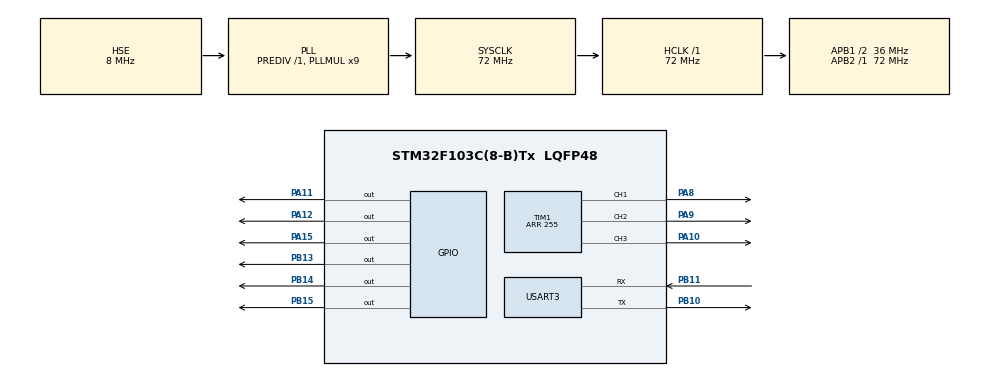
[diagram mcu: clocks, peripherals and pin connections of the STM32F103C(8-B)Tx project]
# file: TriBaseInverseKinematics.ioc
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Mcu.Family=STM32F1
Mcu.Name=STM32F103C(8-B)Tx
Mcu.Package=LQFP48
NVIC.PriorityGroup=NVIC_PRIORITYGROUP_4
PA10.Signal=S_TIM1_CH3
PA11.Signal=GPIO_Output
PA12.Signal=GPIO_Output
PA13.Mode=Serial_Wire
PA13.Signal=SYS_JTMS-SWDIO
PA14.Mode=Serial_Wire
PA14.Signal=SYS_JTCK-SWCLK
PA15.Signal=GPIO_Output
PA8.Signal=S_TIM1_CH1
PA9.Signal=S_TIM1_CH2
PB10.Mode=Asynchronous
PB10.Signal=USART3_TX
PB11.Mode=Asynchronous
PB11.Signal=USART3_RX
PB13.Signal=GPIO_Output
PB14.Signal=GPIO_Output
PB15.Signal=GPIO_Output
PC14-OSC32_IN.Mode=LSE-External-Clock-Source
PC14-OSC32_IN.Signal=RCC_OSC32_IN
PC15-OSC32_OUT.Mode=LSE-External-Clock-Source
PC15-OSC32_OUT.Signal=RCC_OSC32_OUT
PD0-OSC_IN.Mode=HSE-External-Oscillator
PD0-OSC_IN.Signal=RCC_OSC_IN
PD1-OSC_OUT.Mode=HSE-External-Oscillator
PD1-OSC_OUT.Signal=RCC_OSC_OUT
ProjectManager.HeapSize=0x200
ProjectManager.StackSize=0x400
ProjectManager.TargetToolchain=STM32CubeIDE
RCC.AHBFreq_Value=72000000
RCC.APB1CLKDivider=RCC_HCLK_DIV2
RCC.APB1Freq_Value=36000000
RCC.APB1TimFreq_Value=72000000
RCC.APB2Freq_Value=72000000
RCC.APB2TimFreq_Value=72000000
RCC.HCLKFreq_Value=72000000
RCC.PLLMUL=RCC_PLL_MUL9
RCC.PLLSourceVirtual=RCC_PLLSOURCE_HSE
RCC.SYSCLKFreq_VALUE=72000000
RCC.SYSCLKSource=RCC_SYSCLKSOURCE_PLLCLK
RCC.USBFreq_Value=72000000
SH.S_TIM1_CH1.0=TIM1_CH1,PWM Generation1 CH1
SH.S_TIM1_CH2.0=TIM1_CH2,PWM Generation2 CH2
SH.S_TIM1_CH3.0=TIM1_CH3,PWM Generation3 CH3
TIM1.AutoReloadPreload=TIM_AUTORELOAD_PRELOAD_ENABLE
TIM1.Channel-PWM\ Generation1\ CH1=TIM_CHANNEL_1
TIM1.Channel-PWM\ Generation2\ CH2=TIM_CHANNEL_2
TIM1.Channel-PWM\ Generation3\ CH3=TIM_CHANNEL_3
TIM1.Period=255
USART3.VirtualMode=VM_ASYNC
VP_TIM1_VS_ClockSourceINT.Mode=Internal
board=custom

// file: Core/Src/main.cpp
/* USER CODE BEGIN Header */
/**
  ******************************************************************************
  * @file           : main.c
  * @brief          : Main program body
  ******************************************************************************
  * @attention
  *
  * Copyright (c) 2024 STMicroelectronics.
  * All rights reserved.
  *
  * This software is licensed under terms that can be found in the LICENSE file
  * in the root directory of this software component.
  * If no LICENSE file comes with this software, it is provided AS-IS.
  *
  ******************************************************************************
  */
/* USER CODE END Header */
#include "main.h"

/* USER CODE BEGIN Includes */
#include "Motor.h"
#include "TriBase.h"
/* USER CODE END Includes */

TIM_HandleTypeDef htim1;

UART_HandleTypeDef huart3;

void SystemClock_Config(void);
static void MX_GPIO_Init(void);
static void MX_TIM1_Init(void);
static void MX_USART3_UART_Init(void);

/* USER CODE BEGIN 0 */
uint8_t received_data[10];
uint8_t ordered_data[8];
bool data0[8];
bool data1[8];
uint8_t sending_data[10];
bool in_sync = true;
uint8_t checksum;

uint8_t START_BYTE = 1;
uint8_t STOP_BYTE = 4;

void byte_to_bools(unsigned char c, bool b[8])
{
    for (int i=0; i < 8; ++i) {
        b[i] = (c & (1<<i)) != 0;
    }
}

MOTOR Motor1(GPIOB, GPIO_PIN_14, GPIOA, GPIO_PIN_11);
MOTOR Motor2(GPIOB, GPIO_PIN_15, GPIOA, GPIO_PIN_15);
MOTOR Motor3(GPIOB, GPIO_PIN_13, GPIOA, GPIO_PIN_12);
TriBaseKinematics Base(Motor1, Motor2, Motor3);
/* USER CODE END 0 */

int main(void)
{

  /* MCU Configuration--------------------------------------------------------*/

  /* Reset of all peripherals, Initializes the Flash interface and the Systick. */
  HAL_Init();

  /* Configure the system clock */
  SystemClock_Config();

  /* Initialize all configured peripherals */
  MX_GPIO_Init();
  MX_TIM1_Init();
  MX_USART3_UART_Init();
  /* USER CODE BEGIN 2 */
  Motor1.motor_init(&htim1, TIM_CHANNEL_1);
  Motor2.motor_init(&htim1, TIM_CHANNEL_2);
  Motor3.motor_init(&htim1, TIM_CHANNEL_3);

  Base.set_base_speeds(50, 50, 50);
  /* USER CODE END 2 */

  /* Infinite loop */
  while (1)
  {

    /* USER CODE BEGIN 3 */
	  HAL_UART_Receive(&huart3, received_data, 10, HAL_MAX_DELAY);
  	  for (uint8_t i = 0; i<10; i++){
  		  if (received_data[i] == 1 && received_data[(i+7)%8] == 4){
  			  for (uint8_t j = 0; j<8; j++){
  				  ordered_data[j] = received_data[(i+j)%8];
  			  }
  		  }
  	  }

	  if (!in_sync){
		  // communication error protection
	  }

	  if (ordered_data[0] == 2){
		  Base.go_at_angle(0, 0, 100, 0);
	  } else if (ordered_data[1] == 2){
		  Base.go_at_angle(0, 100, 0, 0);
	  } else if (ordered_data[2] == 2){
		  Base.go_at_angle(0, 0, -100, 0);
	  } else if (ordered_data[3] == 2){
		  Base.go_at_angle(0, -100, 0, 0);
	  } else if (ordered_data[4] == 2){
		  Base.go_at_angle(0, 0, 0, 100);
	  } else if (ordered_data[5] == 2){
		  Base.go_at_angle(0, 0, 0, -100);
	  } else {
		  Base.brake();
	  }

//	  if (data0[4]) { // up
//		  Base.set_base_speeds(Base.motor1_base_speed + 1, Base.motor2_base_speed, Base.motor3_base_speed);
//	  } else if (data0[6]) { //down
//		  Base.set_base_speeds(Base.motor1_base_speed - 1, Base.motor2_base_speed, Base.motor3_base_speed);
//	  }
//	  if (data1[0]) { // r1
//		  Base.set_base_speeds(Base.motor1_base_speed, Base.motor2_base_speed + 1, Base.motor3_base_speed);
//	  } else if (data1[1]) { // l1
//		  Base.set_base_speeds(Base.motor1_base_speed, Base.motor2_base_speed - 1, Base.motor3_base_speed);
//	  }
//	  if (data1[2]) { // start
//		  Base.set_base_speeds(Base.motor1_base_speed, Base.motor2_base_speed, Base.motor3_base_speed + 1);
//	  } else if (data1[3]) { // select
//		  Base.set_base_speeds(Base.motor1_base_speed, Base.motor2_base_speed, Base.motor3_base_speed - 1);
//	  }
  }
  /* USER CODE END 3 */
}

void SystemClock_Config(void)
{
  RCC_OscInitTypeDef RCC_OscInitStruct = {0};
  RCC_ClkInitTypeDef RCC_ClkInitStruct = {0};

  /** Initializes the RCC Oscillators according to the specified parameters
  * in the RCC_OscInitTypeDef structure.
  */
  RCC_OscInitStruct.OscillatorType = RCC_OSCILLATORTYPE_HSE;
  RCC_OscInitStruct.HSEState = RCC_HSE_ON;
  RCC_OscInitStruct.HSEPredivValue = RCC_HSE_PREDIV_DIV1;
  RCC_OscInitStruct.HSIState = RCC_HSI_ON;
  RCC_OscInitStruct.PLL.PLLState = RCC_PLL_ON;
  RCC_OscInitStruct.PLL.PLLSource = RCC_PLLSOURCE_HSE;
  RCC_OscInitStruct.PLL.PLLMUL = RCC_PLL_MUL9;
  if (HAL_RCC_OscConfig(&RCC_OscInitStruct) != HAL_OK)
  {
    Error_Handler();
  }

  /** Initializes the CPU, AHB and APB buses clocks
  */
  RCC_ClkInitStruct.ClockType = RCC_CLOCKTYPE_HCLK|RCC_CLOCKTYPE_SYSCLK
                              |RCC_CLOCKTYPE_PCLK1|RCC_CLOCKTYPE_PCLK2;
  RCC_ClkInitStruct.SYSCLKSource = RCC_SYSCLKSOURCE_PLLCLK;
  RCC_ClkInitStruct.AHBCLKDivider = RCC_SYSCLK_DIV1;
  RCC_ClkInitStruct.APB1CLKDivider = RCC_HCLK_DIV2;
  RCC_ClkInitStruct.APB2CLKDivider = RCC_HCLK_DIV1;

  if (HAL_RCC_ClockConfig(&RCC_ClkInitStruct, FLASH_LATENCY_2) != HAL_OK)
  {
    Error_Handler();
  }
}

static void MX_TIM1_Init(void)
{

  TIM_ClockConfigTypeDef sClockSourceConfig = {0};
  TIM_MasterConfigTypeDef sMasterConfig = {0};
  TIM_OC_InitTypeDef sConfigOC = {0};
  TIM_BreakDeadTimeConfigTypeDef sBreakDeadTimeConfig = {0};

  htim1.Instance = TIM1;
  htim1.Init.Prescaler = 0;
  htim1.Init.CounterMode = TIM_COUNTERMODE_UP;
  htim1.Init.Period = 255;
  htim1.Init.ClockDivision = TIM_CLOCKDIVISION_DIV1;
  htim1.Init.RepetitionCounter = 0;
  htim1.Init.AutoReloadPreload = TIM_AUTORELOAD_PRELOAD_ENABLE;
  if (HAL_TIM_Base_Init(&htim1) != HAL_OK)
  {
    Error_Handler();
  }
  sClockSourceConfig.ClockSource = TIM_CLOCKSOURCE_INTERNAL;
  if (HAL_TIM_ConfigClockSource(&htim1, &sClockSourceConfig) != HAL_OK)
  {
    Error_Handler();
  }
  if (HAL_TIM_PWM_Init(&htim1) != HAL_OK)
  {
    Error_Handler();
  }
  sMasterConfig.MasterOutputTrigger = TIM_TRGO_RESET;
  sMasterConfig.MasterSlaveMode = TIM_MASTERSLAVEMODE_DISABLE;
  if (HAL_TIMEx_MasterConfigSynchronization(&htim1, &sMasterConfig) != HAL_OK)
  {
    Error_Handler();
  }
  sConfigOC.OCMode = TIM_OCMODE_PWM1;
  sConfigOC.Pulse = 0;
  sConfigOC.OCPolarity = TIM_OCPOLARITY_HIGH;
  sConfigOC.OCNPolarity = TIM_OCNPOLARITY_HIGH;
  sConfigOC.OCFastMode = TIM_OCFAST_DISABLE;
  sConfigOC.OCIdleState = TIM_OCIDLESTATE_RESET;
  sConfigOC.OCNIdleState = TIM_OCNIDLESTATE_RESET;
  if (HAL_TIM_PWM_ConfigChannel(&htim1, &sConfigOC, TIM_CHANNEL_1) != HAL_OK)
  {
    Error_Handler();
  }
  if (HAL_TIM_PWM_ConfigChannel(&htim1, &sConfigOC, TIM_CHANNEL_2) != HAL_OK)
  {
    Error_Handler();
  }
  if (HAL_TIM_PWM_ConfigChannel(&htim1, &sConfigOC, TIM_CHANNEL_3) != HAL_OK)
  {
    Error_Handler();
  }
  sBreakDeadTimeConfig.OffStateRunMode = TIM_OSSR_DISABLE;
  sBreakDeadTimeConfig.OffStateIDLEMode = TIM_OSSI_DISABLE;
  sBreakDeadTimeConfig.LockLevel = TIM_LOCKLEVEL_OFF;
  sBreakDeadTimeConfig.DeadTime = 0;
  sBreakDeadTimeConfig.BreakState = TIM_BREAK_DISABLE;
  sBreakDeadTimeConfig.BreakPolarity = TIM_BREAKPOLARITY_HIGH;
  sBreakDeadTimeConfig.AutomaticOutput = TIM_AUTOMATICOUTPUT_DISABLE;
  if (HAL_TIMEx_ConfigBreakDeadTime(&htim1, &sBreakDeadTimeConfig) != HAL_OK)
  {
    Error_Handler();
  }
  HAL_TIM_MspPostInit(&htim1);

}

static void MX_USART3_UART_Init(void)
{

  huart3.Instance = USART3;
  huart3.Init.BaudRate = 115200;
  huart3.Init.WordLength = UART_WORDLENGTH_8B;
  huart3.Init.StopBits = UART_STOPBITS_1;
  huart3.Init.Parity = UART_PARITY_NONE;
  huart3.Init.Mode = UART_MODE_TX_RX;
  huart3.Init.HwFlowCtl = UART_HWCONTROL_NONE;
  huart3.Init.OverSampling = UART_OVERSAMPLING_16;
  if (HAL_UART_Init(&huart3) != HAL_OK)
  {
    Error_Handler();
  }

}

static void MX_GPIO_Init(void)
{
  GPIO_InitTypeDef GPIO_InitStruct = {0};

  /* GPIO Ports Clock Enable */
  __HAL_RCC_GPIOC_CLK_ENABLE();
  __HAL_RCC_GPIOD_CLK_ENABLE();
  __HAL_RCC_GPIOB_CLK_ENABLE();
  __HAL_RCC_GPIOA_CLK_ENABLE();

  /*Configure GPIO pin Output Level */
  HAL_GPIO_WritePin(GPIOB, GPIO_PIN_13|GPIO_PIN_14|GPIO_PIN_15, GPIO_PIN_RESET);

  /*Configure GPIO pin Output Level */
  HAL_GPIO_WritePin(GPIOA, GPIO_PIN_11|GPIO_PIN_12|GPIO_PIN_15, GPIO_PIN_RESET);

  /*Configure GPIO pins : PB13 PB14 PB15 */
  GPIO_InitStruct.Pin = GPIO_PIN_13|GPIO_PIN_14|GPIO_PIN_15;
  GPIO_InitStruct.Mode = GPIO_MODE_OUTPUT_PP;
  GPIO_InitStruct.Pull = GPIO_NOPULL;
  GPIO_InitStruct.Speed = GPIO_SPEED_FREQ_LOW;
  HAL_GPIO_Init(GPIOB, &GPIO_InitStruct);

  /*Configure GPIO pins : PA11 PA12 PA15 */
  GPIO_InitStruct.Pin = GPIO_PIN_11|GPIO_PIN_12|GPIO_PIN_15;
  GPIO_InitStruct.Mode = GPIO_MODE_OUTPUT_PP;
  GPIO_InitStruct.Pull = GPIO_NOPULL;
  GPIO_InitStruct.Speed = GPIO_SPEED_FREQ_LOW;
  HAL_GPIO_Init(GPIOA, &GPIO_InitStruct);

}

void Error_Handler(void)
{
  __disable_irq();
  while (1)
  {
  }
}
